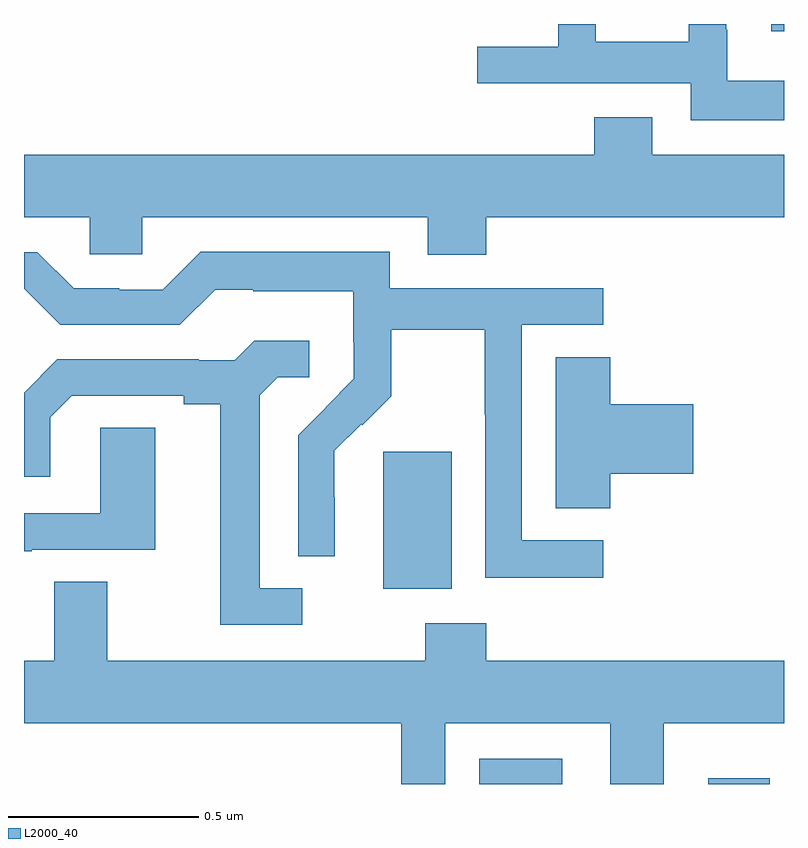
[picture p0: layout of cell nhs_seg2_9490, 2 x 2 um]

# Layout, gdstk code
import gdstk
lib = gdstk.Library(unit=1e-6, precision=1e-09)
def R(c, l, rs):  # rectangles x0, y0, x1, y1
    for r in rs: c.add(gdstk.rectangle(r[:2], r[2:], *l))
def P(c, l, *ps):  # polygons
    for p in ps: c.add(gdstk.Polygon(p, *l))
L2000_40 = (2000, 40)

nhs_seg2_9490 = lib.new_cell('nhs_seg2_9490')
R(nhs_seg2_9490, L2000_40, [(230.198,656.8,230.416,656.866), (230.801,656.8,230.962,656.815), (229.946,657.314,230.125,657.675), (230.967,658.781,231,658.8)])
P(nhs_seg2_9490, L2000_40, [(231,658.651),(230.85,658.651),(230.85,658.785),(230.848,658.785),(230.848,658.8),(230.749,658.8),(230.749,658.753),(230.505,658.753),(230.505,658.8),(230.406,658.8),(230.406,658.74),(230.193,658.74),(230.193,658.644),(230.754,658.644),(230.754,658.547),(231,658.547)],
  [(230.216,658.292),(231,658.292),(231,658.456),(230.653,658.456),(230.653,658.555),(230.501,658.555),(230.501,658.456),(229,658.456),(229,658.292),(229.173,658.292),(229.173,658.194),(229.311,658.194),(229.311,658.292),(230.063,658.292),(230.063,658.193),(230.216,658.193)],
  [(230.524,657.441),(230.31,657.441),(230.31,658.008),(230.524,658.008),(230.524,658.104),(229.962,658.104),(229.962,658.201),(229.465,658.201),(229.365,658.101),(229.25,658.101),(229.25,658.104),(229.131,658.104),(229.035,658.2),(229,658.2),(229,658.103),(229.095,658.008),(229.41,658.008),(229.503,658.101),(229.603,658.101),(229.603,658.097),(229.866,658.097),(229.866,657.963),(229.868,657.963),(229.868,657.866),(229.794,657.792),(229.795,657.791),(229.722,657.718),(229.722,657.4),(229.818,657.4),(229.818,657.554),(229.817,657.554),(229.817,657.677),(229.887,657.747),(229.89,657.744),(229.967,657.821),(229.967,657.996),(230.212,657.996),(230.212,657.772),(230.214,657.772),(230.214,657.343),(230.524,657.343)],
  [(229.732,657.315),(229.621,657.315),(229.621,657.823),(229.668,657.87),(229.75,657.87),(229.75,657.967),(229.606,657.967),(229.554,657.915),(229.46,657.915),(229.46,657.918),(229.088,657.918),(229,657.83),(229,657.609),(229.069,657.609),(229.069,657.765),(229.126,657.822),(229.421,657.822),(229.421,657.8),(229.517,657.8),(229.517,657.219),(229.732,657.219)],
  [(230.543,657.617),(230.761,657.617),(230.761,657.8),(230.543,657.8),(230.543,657.923),(230.399,657.923),(230.399,657.526),(230.543,657.526)],
  [(229.021,657.417),(229.345,657.417),(229.345,657.737),(229.2,657.737),(229.2,657.513),(229,657.513),(229,657.413),(229.021,657.413)],
  [(230.109,656.96),(230.543,656.96),(230.543,656.8),(230.683,656.8),(230.683,656.96),(231,656.96),(231,657.124),(230.216,657.124),(230.216,657.223),(230.056,657.223),(230.056,657.124),(229.219,657.124),(229.219,657.332),(229.079,657.332),(229.079,657.124),(229,657.124),(229,656.96),(229.993,656.96),(229.993,656.8),(230.109,656.8)])

lib.write_gds('nhs_seg2_9490.gds')
